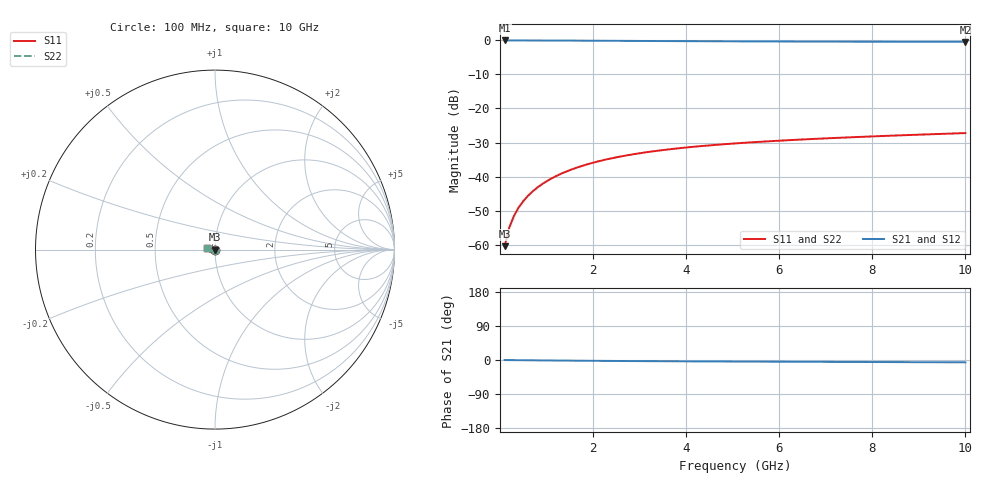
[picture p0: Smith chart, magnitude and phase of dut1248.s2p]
! Touchstone file exported from HFSS 2024.1.0
!  File:  C:/UserFiles/LocalFiles/RDL_TSV_Batchsim/temp_TSV1_1248_1780252069.aedt
!  Generated:  02:34:36 AM Jun  1, 2026
!  Design:  TSV1
!  Project:  temp_TSV1_1248_1780252069
!  Setup:  Setup1
!  Solution:  Sweep
! Variables:
!  dtsv = 6.32um
!  hbump = 3um
!  htsv = 97.57um
!  lrdl = 252.1521522um
!  p = 40
!  p1 = 41.81um
!  t = 500um
!  trdl = 3um
!  wrdl = 24.89489489um
# GHz S MA R 50.000000
! Terminal data exported
! Port[1] = TSV22_T1
! Port[2] = TSV22_T2
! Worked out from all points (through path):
!   100 points, 100 MHz to 10 GHz, reference 50 ohm
!   highest |S21| = 0.00 dB at 100 MHz (marker M1); lowest = -0.4 dB at 10 GHz (marker M2)
!   lowest |S11| = -60.5 dB at 100 MHz (marker M3), VSWR 1.00, Z = 50 - j0.0868 ohm
!   |S11| at or under -10 dB: start of sweep to end of sweep
!   |S22| runs from -60.5 to -27.2 dB; largest |S21 - S12| = 1.2e-14
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0.1  0.0009478 -66.2  0.9996 -0.1  0.9996 -0.1  0.0009478 -66.2
! Gamma 0 0 0 0
! Port Impedance 50 0 50 0
0.2  0.001779 -80.1  0.9995 -0.2  0.9995 -0.2  0.001779 -80.1
0.3  0.002631 -86.2  0.9993 -0.4  0.9993 -0.4  0.002631 -86.2
0.4  0.003487 -90.2  0.9991 -0.5  0.9991 -0.5  0.003487 -90.2
0.5  0.00434 -93.2  0.9989 -0.6  0.9989 -0.6  0.00434 -93.2
0.6  0.005189 -95.9  0.9986 -0.7  0.9986 -0.7  0.005189 -95.9
0.7  0.006031 -98.2  0.9983 -0.8  0.9983 -0.8  0.006031 -98.2
0.8  0.006865 -100.4  0.9979 -0.9  0.9979 -0.9  0.006865 -100.4
0.9  0.007691 -102.5  0.9975 -1.0  0.9975 -1.0  0.007691 -102.5
1.1  0.009311 -106.4  0.9965 -1.3  0.9965 -1.3  0.009311 -106.4
1.4  0.01165 -111.8  0.9948 -1.6  0.9948 -1.6  0.01165 -111.8
1.6  0.01315 -115.3  0.9935 -1.8  0.9935 -1.8  0.01315 -115.3
1.8  0.01459 -118.6  0.9921 -2.0  0.9921 -2.0  0.01459 -118.6
2.1  0.01663 -123.3  0.9899 -2.2  0.9899 -2.2  0.01663 -123.3
2.5  0.01915 -129.3  0.9869 -2.6  0.9869 -2.6  0.01915 -129.3
2.9  0.02144 -134.8  0.9838 -2.9  0.9838 -2.9  0.02144 -134.8
3.4  0.024 -141.3  0.9801 -3.2  0.9801 -3.2  0.02401 -141.3
4.2  0.02752 -150.6  0.9747 -3.6  0.9747 -3.6  0.02752 -150.6
5.1  0.03082 -159.7  0.9695 -4.1  0.9695 -4.1  0.03082 -159.7
6.7  0.03558 -173.3  0.9623 -4.8  0.9623 -4.8  0.03558 -173.3
8.4  0.03983 174.9  0.9571 -5.5  0.9571 -5.5  0.03983 174.9
10  0.04351 165.7  0.9535 -6.2  0.9535 -6.2  0.04351 165.7
